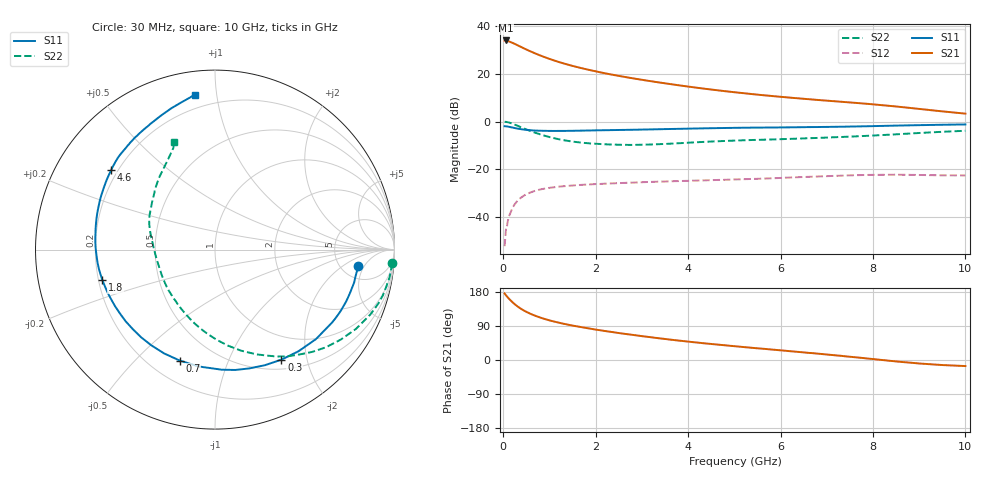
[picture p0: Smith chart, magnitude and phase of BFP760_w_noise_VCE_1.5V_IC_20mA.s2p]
! Infineon Technologies  Discrete & RF Semiconductors
! BFP760
! VCE =  1.5 V,  IC =  20 mA
! Common Emitter S-Parameters:  Nov 2012
# GHz  S  MA  R  50
!  f  S11  S21  S12  S22
! GHz  MAG  ANG  MAG  ANG  MAG  ANG  MAG  ANG
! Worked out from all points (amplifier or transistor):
!   99 points, 30 MHz to 10 GHz, reference 50 ohm
!   highest |S21| = 33.9 dB at 50 MHz (marker M1)
!   |S21| within 3 dB of that: start of sweep to 416.8 MHz
!   unconditionally stable (mu >= 1): 4.678 GHz to end of sweep
!   at 350 MHz: K = 0.21, MSG = 31.9 dB, |S12| = -32.3 dB
!   at 3.5 GHz: K = 0.86, MSG = 20.5 dB, |S12| = -25.0 dB
!   at 10 GHz: K = 1.12, MAG = 10.8 dB, |S12| = -22.5 dB
!   lowest NFmin = 0.63 dB at 900 MHz
!   S11 on the Smith chart (normalised r, x): 30 MHz: 7.08, -3.69; 300 MHz: 0.63, -1.59; 700 MHz: 0.32, -0.68; 1.8 GHz: 0.22, -0.13; 4.6 GHz: 0.17, +0.33; 10 GHz: 0.12, +0.87
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0.03  0.8007 -6.7  49.07 175.7  0.0025 89.6  0.988 -4.4
0.05  0.7967 -11.0  49.44 172.1  0.0044 82.3  0.9865 -7.6
0.11  0.782 -23.9  47.64 163.6  0.0092 79.2  0.9629 -16.9
0.15  0.768 -32.1  46.2 158.4  0.012 74.2  0.938 -22.7
0.25  0.733 -50.6  41.92 147.1  0.0189 65.6  0.8622 -35.5
0.3  0.7161 -58.9  39.71 142.2  0.0217 61.7  0.8247 -41.2
0.4  0.6889 -74.0  35.66 133.9  0.0264 56.4  0.75 -51.2
0.5  0.6702 -86.8  32.03 127.1  0.0305 51.0  0.6856 -60.3
0.6  0.6574 -98.0  28.96 121.3  0.0334 47.0  0.6292 -68.2
0.7  0.6487 -107.6  26.31 116.4  0.0361 43.4  0.5817 -75.5
0.9  0.6406 -123.5  22.08 108.1  0.0399 38.0  0.5048 -88.5
1.1  0.6373 -136.0  18.89 101.5  0.0425 34.0  0.4495 -99.9
1.4  0.64 -150.4  15.44 93.3  0.0454 30.2  0.3954 -114.4
1.7  0.6468 -161.7  13.02 86.5  0.0477 27.7  0.3615 -127.1
1.8  0.6501 -164.9  12.36 84.4  0.0483 26.9  0.3554 -131.1
2.5  0.6676 176.8  9.002 71.2  0.0518 23.6  0.3284 -154.9
3.4  0.6927 159.2  6.503 56.9  0.0557 21.3  0.3381 -179.0
4.6  0.7295 142.4  4.546 41.1  0.0602 19.3  0.3863 160.8
5.1  0.7417 137.7  4.008 35.4  0.0622 18.8  0.4039 155.2
6.7  0.768 125.2  2.884 18.0  0.0707 16.2  0.4521 139.5
8.5  0.824 107.2  2.067 -3.8  0.0777 7.1  0.5415 121.3
10  0.8714 97.5  1.465 -16.0  0.0749 3.6  0.6428 110.7
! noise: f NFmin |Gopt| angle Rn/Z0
0.9  0.63  0.08  43  0.09
1.8  0.67  0.06  168  0.08
2.4  0.72  0.08  -178  0.08
3.5  0.83  0.12  -153  0.09
5.5  1.06  0.26  -120  0.11
8  1.37  0.38  -84  0.32
